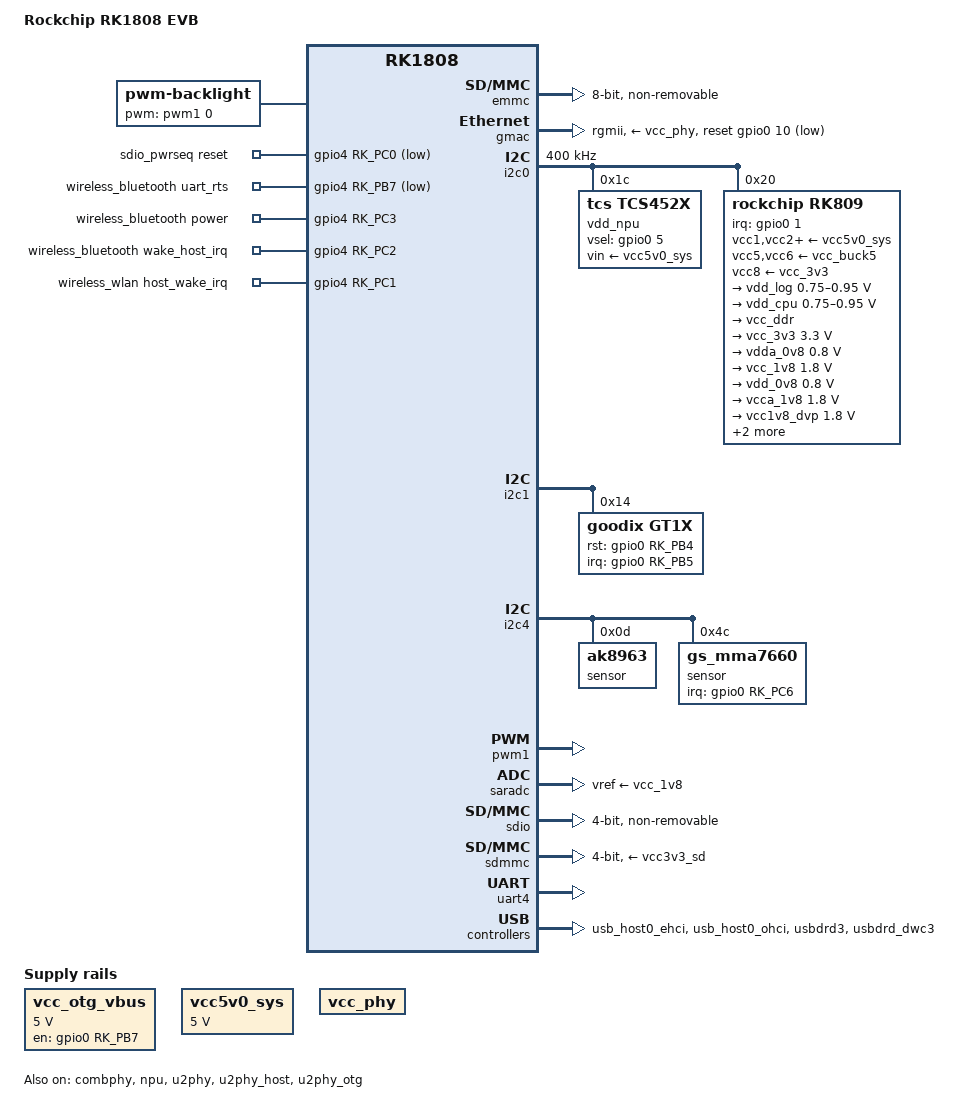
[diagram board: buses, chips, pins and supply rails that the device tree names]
// SPDX-License-Identifier: (GPL-2.0+ OR MIT)
// Copyright (c) 2018 Fuzhou Rockchip Electronics Co., Ltd.

#include <dt-bindings/display/media-bus-format.h>
#include <dt-bindings/gpio/gpio.h>
#include <dt-bindings/input/input.h>
#include <dt-bindings/pinctrl/rockchip.h>
#include <dt-bindings/sensor-dev.h>
#include "rk1808.dtsi"

/ {
	model = "Rockchip RK1808 EVB";
	compatible = "rockchip,rk1808-evb", "rockchip,rk1808";

	adc_key: adc-keys {
		compatible = "adc-keys";
		autorepeat;
		io-channels = <&saradc 2>;
		io-channel-names = "buttons";
		keyup-threshold-microvolt = <1800000>;
		poll-interval = <100>;
	};

	backlight: backlight {
		compatible = "pwm-backlight";
		pwms = <&pwm1 0 25000 0>;
		brightness-levels = <
			  0   1   2   3   4   5   6   7
			  8   9  10  11  12  13  14  15
			 16  17  18  19  20  21  22  23
			 24  25  26  27  28  29  30  31
			 32  33  34  35  36  37  38  39
			 40  41  42  43  44  45  46  47
			 48  49  50  51  52  53  54  55
			 56  57  58  59  60  61  62  63
			 64  65  66  67  68  69  70  71
			 72  73  74  75  76  77  78  79
			 80  81  82  83  84  85  86  87
			 88  89  90  91  92  93  94  95
			 96  97  98  99 100 101 102 103
			104 105 106 107 108 109 110 111
			112 113 114 115 116 117 118 119
			120 121 122 123 124 125 126 127
			128 129 130 131 132 133 134 135
			136 137 138 139 140 141 142 143
			144 145 146 147 148 149 150 151
			152 153 154 155 156 157 158 159
			160 161 162 163 164 165 166 167
			168 169 170 171 172 173 174 175
			176 177 178 179 180 181 182 183
			184 185 186 187 188 189 190 191
			192 193 194 195 196 197 198 199
			200 201 202 203 204 205 206 207
			208 209 210 211 212 213 214 215
			216 217 218 219 220 221 222 223
			224 225 226 227 228 229 230 231
			232 233 234 235 236 237 238 239
			240 241 242 243 244 245 246 247
			248 249 250 251 252 253 254 255>;
		default-brightness-level = <200>;
	};

	display_subsystem: display-subsystem {
		compatible = "rockchip,display-subsystem";
		ports = <&vop_lite_out>, <&vop_raw_out>;
		logo-memory-region = <&drm_logo>;
		status = "disabled";

		route {
			route_csi: route-csi {
				status = "disabled";
				logo,uboot = "logo.bmp";
				logo,kernel = "logo_kernel.bmp";
				logo,mode = "center";
				charge_logo,mode = "center";
				connect = <&vop_raw_out_csi>;
			};

			route_dsi: route-dsi {
				status = "disabled";
				logo,uboot = "logo.bmp";
				logo,kernel = "logo_kernel.bmp";
				logo,mode = "center";
				charge_logo,mode = "center";
				connect = <&vop_lite_out_dsi>;
			};

			route_rgb: route-rgb {
				status = "disabled";
				logo,uboot = "logo.bmp";
				logo,kernel = "logo_kernel.bmp";
				logo,mode = "center";
				charge_logo,mode = "center";
				connect = <&vop_lite_out_rgb>;
			};
		};
	};

	fiq-debugger {
		compatible = "rockchip,fiq-debugger";
		rockchip,serial-id = <2>;
		rockchip,wake-irq = <0>;
		/* If enable uart uses irq instead of fiq */
		rockchip,irq-mode-enable = <0>;
		rockchip,baudrate = <1500000>;  /* Only 115200 and 1500000 */
		interrupts = <GIC_SPI 242 IRQ_TYPE_LEVEL_HIGH>;
		status = "okay";
	};

	reserved-memory {
		#address-cells = <2>;
		#size-cells = <2>;
		ranges;

		drm_logo: drm-logo@00000000 {
			compatible = "rockchip,drm-logo";
			reg = <0x0 0x0 0x0 0x0>;
		};

		ramoops: ramoops@110000 {
			compatible = "ramoops";
			reg = <0x0 0x110000 0x0 0xf0000>;
			record-size = <0x30000>;
			console-size = <0xc0000>;
			ftrace-size = <0x00000>;
			pmsg-size = <0x00000>;
		};
	};

	rk809_sound: rk809-sound {
		status = "disabled";
		compatible = "simple-audio-card";
		simple-audio-card,format = "i2s";
		simple-audio-card,name = "rockchip,rk809-codec";
		simple-audio-card,mclk-fs = <256>;
		simple-audio-card,widgets =
			"Microphone", "Mic Jack",
			"Headphone", "Headphone Jack";
		simple-audio-card,routing =
			"Mic Jack", "MICBIAS1",
			"IN1P", "Mic Jack",
			"Headphone Jack", "HPOL",
			"Headphone Jack", "HPOR";
		simple-audio-card,cpu {
			sound-dai = <&i2s1>;
		};
		simple-audio-card,codec {
			sound-dai = <&rk809_codec>;
		};
	};

	sdio_pwrseq: sdio-pwrseq {
		compatible = "mmc-pwrseq-simple";
		pinctrl-names = "default";
		pinctrl-0 = <&wifi_enable_h>;

		/*
		 * On the module itself this is one of these (depending
		 * on the actual card populated):
		 * - SDIO_RESET_L_WL_REG_ON
		 * - PDN (power down when low)
		 */
		reset-gpios = <&gpio4 RK_PC0 GPIO_ACTIVE_LOW>;
	};

	vcc_otg_vbus: otg-vbus-regulator {
		compatible = "regulator-fixed";
		gpio = <&gpio0 RK_PB7 GPIO_ACTIVE_HIGH>;
		pinctrl-names = "default";
		pinctrl-0 = <&otg_vbus_drv>;
		regulator-name = "vcc_otg_vbus";
		regulator-min-microvolt = <5000000>;
		regulator-max-microvolt = <5000000>;
		enable-active-high;
	};

	vcc5v0_sys: vcc5v0-sys {
		compatible = "regulator-fixed";
		regulator-name = "vcc5v0_sys";
		regulator-always-on;
		regulator-boot-on;
		regulator-min-microvolt = <5000000>;
		regulator-max-microvolt = <5000000>;
	};

	vcc_phy: vcc-phy-regulator {
		compatible = "regulator-fixed";
		regulator-name = "vcc_phy";
		regulator-always-on;
		regulator-boot-on;
	};

	wireless_bluetooth: wireless-bluetooth {
		compatible = "bluetooth-platdata";
		uart_rts_gpios = <&gpio4 RK_PB7 GPIO_ACTIVE_LOW>;
		pinctrl-names = "default", "rts_gpio";
		pinctrl-0 = <&uart4_rts>;
		pinctrl-1 = <&uart4_rts_gpio>;
		BT,power_gpio    = <&gpio4 RK_PC3 GPIO_ACTIVE_HIGH>;
		BT,wake_host_irq = <&gpio4 RK_PC2 GPIO_ACTIVE_HIGH>;
		status = "okay";
	};

	wireless_wlan: wireless-wlan {
		compatible = "wlan-platdata";
		rockchip,grf = <&grf>;
		pinctrl-names = "default";
		pinctrl-0 = <&wifi_wake_host>;
		wifi_chip_type = "ap6212";
		WIFI,host_wake_irq = <&gpio4 RK_PC1 GPIO_ACTIVE_HIGH>;
		status = "okay";
	};
};

&cpu0 {
	cpu-supply = <&vdd_cpu>;
};

&cpu1 {
	cpu-supply = <&vdd_cpu>;
};

&combphy {
	status = "okay";
};

&emmc {
	bus-width = <8>;
	cap-mmc-highspeed;
	max-frequency = <200000000>;
	mmc-hs200-1_8v;
	supports-emmc;
	non-removable;
	num-slots = <1>;
	status = "okay";
};

&gmac {
	phy-supply = <&vcc_phy>;
	phy-mode = "rgmii";
	clock_in_out = "input";
	snps,reset-gpio = <&gpio0 10 GPIO_ACTIVE_LOW>;
	snps,reset-active-low;
	/* Reset time is 20ms, 100ms for rtl8211f */
	snps,reset-delays-us = <0 20000 100000>;
	assigned-clocks = <&cru SCLK_GMAC>;
	assigned-clock-parents = <&gmac_clkin>;
	tx_delay = <0x50>;
	rx_delay = <0x3a>;
	status = "okay";
};

&i2c0 {
	status = "okay";
	clock-frequency = <400000>;

	vdd_npu: tcs4525@1c {
		compatible = "tcs,tcs452x";
		reg = <0x1c>;
		vin-supply = <&vcc5v0_sys>;
		regulator-compatible = "fan53555-reg";
		pinctrl-0 = <&vsel_gpio>;
		vsel-gpios = <&gpio0 5 GPIO_ACTIVE_HIGH>;
		regulator-name = "vdd_npu";
		regulator-min-microvolt = <750000>;
		regulator-max-microvolt = <950000>;
		regulator-ramp-delay = <2300>;
		fcs,suspend-voltage-selector = <0>;
		regulator-boot-on;
		regulator-state-mem {
			regulator-off-in-suspend;
		};
	};

	rk809: pmic@20 {
		compatible = "rockchip,rk809";
		reg = <0x20>;
		interrupt-parent = <&gpio0>;
		interrupts = <1 IRQ_TYPE_LEVEL_LOW>;
		pinctrl-names = "default", "pmic-sleep",
				"pmic-power-off", "pmic-reset";
		pinctrl-0 = <&pmic_int>;
		pinctrl-1 = <&soc_slppin_slp>, <&rk817_slppin_slp>;
		pinctrl-2 = <&soc_slppin_gpio>, <&rk817_slppin_pwrdn>;
		pinctrl-3 = <&soc_slppin_gpio>, <&rk817_slppin_null>;
		rockchip,system-power-controller;
		wakeup-source;
		#clock-cells = <1>;
		clock-output-names = "rk808-clkout1", "rk808-clkout2";
		//fb-inner-reg-idxs = <2>;
		/* 1: rst regs (default in codes), 0: rst the pmic */
		pmic-reset-func = <0>;

		vcc1-supply = <&vcc5v0_sys>;
		vcc2-supply = <&vcc5v0_sys>;
		vcc3-supply = <&vcc5v0_sys>;
		vcc4-supply = <&vcc5v0_sys>;
		vcc5-supply = <&vcc_buck5>;
		vcc6-supply = <&vcc_buck5>;
		vcc7-supply = <&vcc5v0_sys>;
		vcc8-supply = <&vcc_3v3>;
		vcc9-supply = <&vcc5v0_sys>;

		pwrkey {
			status = "okay";
		};

		rtc {
			status = "okay";
		};

		pinctrl_rk8xx: pinctrl_rk8xx {
			gpio-controller;
			#gpio-cells = <2>;

			rk817_slppin_null: rk817_slppin_null {
				pins = "gpio_slp";
				function = "pin_fun0";
			};

			rk817_slppin_slp: rk817_slppin_slp {
				pins = "gpio_slp";
				function = "pin_fun1";
			};

			rk817_slppin_pwrdn: rk817_slppin_pwrdn {
				pins = "gpio_slp";
				function = "pin_fun2";
			};

			rk817_slppin_rst: rk817_slppin_rst {
				pins = "gpio_slp";
				function = "pin_fun3";
			};
		};

		regulators {
			vdd_log: DCDC_REG1 {
				regulator-always-on;
				regulator-boot-on;
				regulator-min-microvolt = <750000>;
				regulator-max-microvolt = <950000>;
				regulator-ramp-delay = <6001>;
				regulator-initial-mode = <0x2>;
				regulator-name = "vdd_log";
				regulator-state-mem {
					regulator-on-in-suspend;
					regulator-suspend-microvolt = <800000>;
				};
			};

			vdd_cpu: DCDC_REG2 {
				regulator-always-on;
				regulator-boot-on;
				regulator-min-microvolt = <750000>;
				regulator-max-microvolt = <950000>;
				regulator-ramp-delay = <6001>;
				regulator-initial-mode = <0x2>;
				regulator-name = "vdd_cpu";
				regulator-state-mem {
					regulator-off-in-suspend;
				};
			};

			vcc_ddr: DCDC_REG3 {
				regulator-always-on;
				regulator-boot-on;
				regulator-name = "vcc_ddr";
				regulator-initial-mode = <0x2>;
				regulator-state-mem {
					regulator-on-in-suspend;
				};
			};

			vcc_3v3: DCDC_REG4 {
				regulator-always-on;
				regulator-boot-on;
				regulator-min-microvolt = <3300000>;
				regulator-max-microvolt = <3300000>;
				regulator-initial-mode = <0x2>;
				regulator-name = "vcc_3v3";
				regulator-state-mem {
					regulator-on-in-suspend;
					regulator-suspend-microvolt = <3300000>;
				};
			};

			vdda_0v8: LDO_REG1 {
				regulator-always-on;
				regulator-boot-on;
				regulator-min-microvolt = <800000>;
				regulator-max-microvolt = <800000>;
				regulator-name = "vdda_0v8";
				regulator-state-mem {
					regulator-on-in-suspend;
					regulator-suspend-microvolt = <800000>;
				};
			};

			vcc_1v8: LDO_REG2 {
				regulator-always-on;
				regulator-boot-on;
				regulator-min-microvolt = <1800000>;
				regulator-max-microvolt = <1800000>;

				regulator-name = "vcc_1v8";
				regulator-state-mem {
					regulator-on-in-suspend;
					regulator-suspend-microvolt = <1800000>;
				};
			};

			vdd_0v8: LDO_REG3 {
				regulator-always-on;
				regulator-boot-on;
				regulator-min-microvolt = <800000>;
				regulator-max-microvolt = <800000>;

				regulator-name = "vdd_0v8";
				regulator-state-mem {
					regulator-on-in-suspend;
					regulator-suspend-microvolt = <800000>;
				};
			};

			vcca_1v8: LDO_REG4 {
				regulator-always-on;
				regulator-boot-on;
				regulator-min-microvolt = <1800000>;
				regulator-max-microvolt = <1800000>;

				regulator-name = "vcca_1v8";
				regulator-state-mem {
					regulator-on-in-suspend;
					regulator-suspend-microvolt = <1800000>;

				};
			};

			vcc1v8_dvp: LDO_REG5 {
				regulator-always-on;
				regulator-boot-on;
				regulator-min-microvolt = <1800000>;
				regulator-max-microvolt = <1800000>;

				regulator-name = "vcc1v8_dvp";
				regulator-state-mem {
					regulator-on-in-suspend;
					regulator-suspend-microvolt = <1800000>;
				};
			};

			vdd1v5_dvp: LDO_REG6 {
				regulator-min-microvolt = <1200000>;
				regulator-max-microvolt = <1500000>;

				regulator-name = "vdd1v5_dvp";
				regulator-state-mem {
					regulator-on-in-suspend;
					regulator-suspend-microvolt = <1500000>;

				};
			};

			vcc2v8_dvp: LDO_REG7 {
				regulator-always-on;
				regulator-boot-on;
				regulator-min-microvolt = <2800000>;
				regulator-max-microvolt = <2800000>;

				regulator-name = "vcc2v8_dvp";
				regulator-state-mem {
					regulator-off-in-suspend;
					regulator-suspend-microvolt = <2800000>;
				};
			};

			vccio_sd: LDO_REG8 {
				regulator-always-on;
				regulator-boot-on;
				regulator-min-microvolt = <1800000>;
				regulator-max-microvolt = <3300000>;

				regulator-name = "vccio_sd";
				regulator-state-mem {
					regulator-on-in-suspend;
					regulator-suspend-microvolt = <3300000>;
				};
			};

			vcc3v3_sd: LDO_REG9 {
				regulator-min-microvolt = <3300000>;
				regulator-max-microvolt = <3300000>;

				regulator-name = "vcc3v3_sd";
				regulator-state-mem {
					regulator-on-in-suspend;
					regulator-suspend-microvolt = <3300000>;
				};
			};

			vcc_buck5: DCDC_REG5 {
				regulator-always-on;
				regulator-boot-on;
				regulator-min-microvolt = <2200000>;
				regulator-max-microvolt = <2200000>;
				regulator-name = "vcc_buck5";
				regulator-state-mem {
					regulator-on-in-suspend;
					regulator-suspend-microvolt = <2200000>;
				};
			};

			vcc5v0_host: SWITCH_REG1 {
				regulator-always-on;
				regulator-boot-on;
				regulator-name = "vcc5v0_host";
			};

			vccio_3v3: SWITCH_REG2 {
				regulator-always-on;
				regulator-boot-on;
				regulator-name = "vccio_3v3";
			};

		};

		rk809_codec: codec {
			#sound-dai-cells = <0>;
			compatible = "rockchip,rk809-codec", "rockchip,rk817-codec";
			clocks = <&cru SCLK_I2S1_2CH_OUT>;
			clock-names = "mclk";
			pinctrl-names = "default";
			pinctrl-0 = <&i2s1_2ch_mclk>;
			hp-volume = <20>;
			spk-volume = <3>;
			status = "okay";
		};
	};
};

&i2c1 {
	status = "okay";

	gt1x: gt1x@14 {
		compatible = "goodix,gt1x";
		reg = <0x14>;
		goodix,rst-gpio = <&gpio0 RK_PB4 GPIO_ACTIVE_HIGH>;
		goodix,irq-gpio = <&gpio0 RK_PB5 IRQ_TYPE_LEVEL_LOW>;
	};
};

&i2c4 {
	status = "okay";

	sensor@d {
		status = "okay";
		compatible = "ak8963";
		reg = <0x0d>;
		type = <SENSOR_TYPE_COMPASS>;
		irq_enable = <0>;
		poll_delay_ms = <30>;
		layout = <1>;
		reprobe_en = <1>;
	};

	sensor@4c {
		status = "okay";
		compatible = "gs_mma7660";
		reg = <0x4c>;
		type = <SENSOR_TYPE_ACCEL>;
		irq-gpio = <&gpio0 RK_PC6 IRQ_TYPE_LEVEL_LOW>;
		irq_enable = <0>;
		poll_delay_ms = <30>;
		layout = <2>;
		reprobe_en = <1>;
	};
};

&npu {
	npu-supply = <&vdd_npu>;
	status = "okay";
};

&pcie0 {
	reset-gpios = <&gpio0 RK_PB6 GPIO_ACTIVE_HIGH>;
	/* Disable usbdrd_dwc3 and usbdrd3 if using pcie0 */
	status = "disabled";
};

&power {
	pd_npu-supply = <&vdd_npu>;
};

&pwm1 {
	status = "okay";
};

&saradc {
	status = "okay";
	vref-supply = <&vcc_1v8>;
};

&sdio {
	bus-width = <4>;
	cap-mmc-highspeed;
	cap-sd-highspeed;
	supports-sdio;
	keep-power-in-suspend;
	non-removable;
	mmc-pwrseq = <&sdio_pwrseq>;
	sd-uhs-sdr104;
	status = "okay";
};

&sdmmc {
	bus-width = <4>;
	cap-mmc-highspeed;
	cap-sd-highspeed;
	supports-sd;
	card-detect-delay = <300>;
	sd-uhs-sdr25;
	sd-uhs-sdr50;
	sd-uhs-sdr104;
	vmmc-supply = <&vcc3v3_sd>;
	vqmmc-supply = <&vccio_sd>;
	status = "okay";
};

&uart4 {
	pinctrl-names = "default";
	pinctrl-0 = <&uart4_xfer &uart4_cts>;
	status = "okay";
};

&u2phy {
	status = "okay";
};

&u2phy_host {
	status = "okay";
};

&u2phy_otg {
	status = "okay";
	vbus-supply = <&vcc_otg_vbus>;
};

&usb_host0_ehci {
	status = "okay";
};

&usb_host0_ohci {
	status = "okay";
};

&usbdrd3 {
	status = "okay";
	extcon = <&u2phy>;
};

&usbdrd_dwc3 {
	status = "okay";
};

&pinctrl {
	pmic {
		pmic_int: pmic_int {
			rockchip,pins =
				<0 RK_PA1 RK_FUNC_GPIO &pcfg_pull_up>;
		};

		soc_slppin_gpio: soc_slppin_gpio {
			rockchip,pins =
				<0 RK_PA4 RK_FUNC_GPIO &pcfg_output_low>;
		};

		soc_slppin_slp: soc_slppin_slp {
			rockchip,pins =
				<0 RK_PA4 1 &pcfg_pull_none>;
		};

		vsel_gpio: vsel-gpio {
			rockchip,pins =
				<0 RK_PA5 RK_FUNC_GPIO &pcfg_pull_down>;
		};
	};

	sdio-pwrseq {
		wifi_enable_h: wifi-enable-h {
			rockchip,pins =
				<4 RK_PC0 RK_FUNC_GPIO &pcfg_pull_none>;
		};
	};

	usb2 {
		otg_vbus_drv: otg-vbus-drv {
			rockchip,pins = <0 RK_PB7 RK_FUNC_GPIO &pcfg_pull_none>;
		};
	};

	wireless-bluetooth {
		uart4_rts_gpio: uart4-rts-gpio {
			rockchip,pins = <4 RK_PB7 RK_FUNC_GPIO &pcfg_pull_none>;
		};
	};

	wireless-wlan {
		wifi_wake_host: wifi-wake-host {
			rockchip,pins =
				<4 RK_PC1 RK_FUNC_GPIO &pcfg_pull_up>;
		};
	};
};
